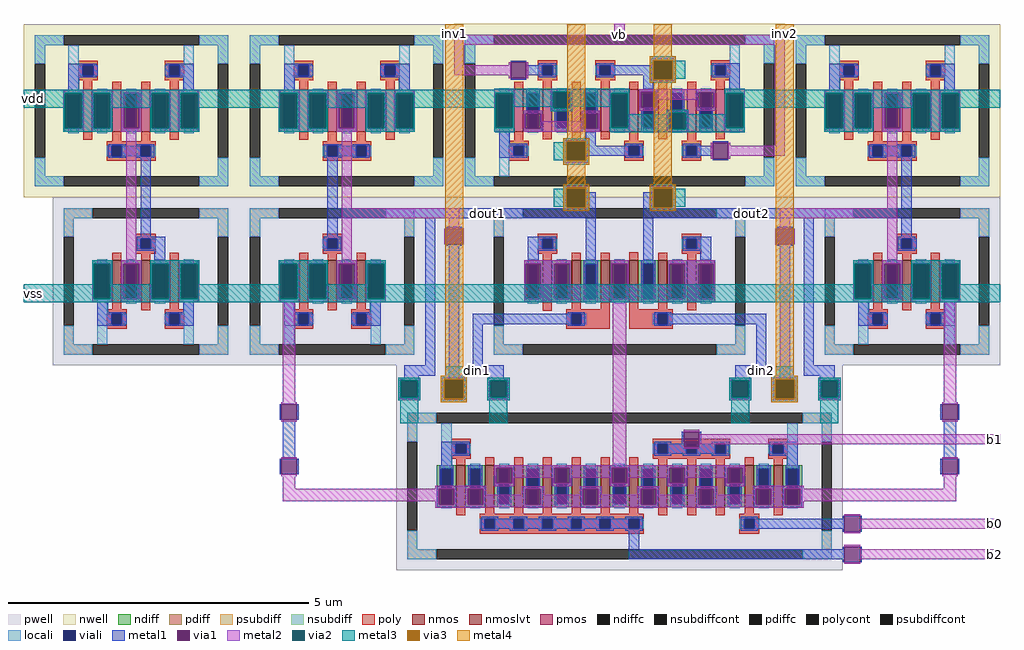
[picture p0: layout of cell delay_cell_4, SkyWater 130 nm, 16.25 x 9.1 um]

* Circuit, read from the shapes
.subckt delay_cell_4 din1 din2 vss vdd dout1 dout2 vb b1 b0 b2 inv1 inv2
XM1 n1 vss vss vss sky130_fd_pr__nfet_01v8 w=0.7 l=0.15 m=2
XM2 vss vss vss vss sky130_fd_pr__nfet_01v8 w=0.7 l=0.15 m=5
XM3 inv1 dout1 vss vss sky130_fd_pr__nfet_01v8 w=0.7 l=0.15
XM4 vss vss inv1 vss sky130_fd_pr__nfet_01v8 w=0.7 l=0.15
XM5 current_tails_1_0/in b2 vss vss sky130_fd_pr__nfet_01v8 w=0.7 l=0.15 m=6
XM6 current_tails_1_0/in current_tails_1_0/in current_tails_1_0/in vss sky130_fd_pr__nfet_01v8_lvt w=0.7 l=0.15 m=2
XM7 dout1 din1 current_tails_1_0/in vss sky130_fd_pr__nfet_01v8_lvt w=0.7 l=0.15 m=2
XM8 dout2 din2 current_tails_1_0/in vss sky130_fd_pr__nfet_01v8_lvt w=0.7 l=0.15 m=2
XM9 current_tails_1_0/in b1 vss vss sky130_fd_pr__nfet_01v8 w=0.7 l=0.15 m=3
XM10 vss b0 current_tails_1_0/in vss sky130_fd_pr__nfet_01v8 w=0.7 l=0.15
XM11 inv2 vss vss vss sky130_fd_pr__nfet_01v8 w=0.7 l=0.15
XM12 vss dout2 inv2 vss sky130_fd_pr__nfet_01v8 w=0.7 l=0.15
XM13 vdd vdd vdd vdd sky130_fd_pr__pfet_01v8 w=0.7 l=0.15 m=6
XM14 n1 vss vdd vdd sky130_fd_pr__pfet_01v8 w=0.7 l=0.15 m=2
XM15 inv1 dout1 vdd vdd sky130_fd_pr__pfet_01v8 w=0.7 l=0.15 m=2
XM16 dout1 vdd vdd vdd sky130_fd_pr__pfet_01v8 w=0.7 l=0.15
XM17 vdd vb dout1 vdd sky130_fd_pr__pfet_01v8 w=0.7 l=0.15
XM18 dout1 dout1 vdd vdd sky130_fd_pr__pfet_01v8 w=0.7 l=0.15
XM19 vdd dout2 dout1 vdd sky130_fd_pr__pfet_01v8 w=0.7 l=0.15
XM20 dout2 dout1 vdd vdd sky130_fd_pr__pfet_01v8 w=0.7 l=0.15
XM21 vdd dout2 dout2 vdd sky130_fd_pr__pfet_01v8 w=0.7 l=0.15
XM22 dout2 vb vdd vdd sky130_fd_pr__pfet_01v8 w=0.7 l=0.15
XM23 vdd vdd dout2 vdd sky130_fd_pr__pfet_01v8 w=0.7 l=0.15
XM24 inv2 dout2 vdd vdd sky130_fd_pr__pfet_01v8 w=0.7 l=0.15 m=2
.ends

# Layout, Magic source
magic
tech sky130A
magscale 1 2
<< pwell >>
rect -245 -53 1049 507
rect -341 -175 1145 -53
<< metal1 >>
rect 514 958 578 964
rect 514 950 520 958
rect 508 916 520 950
rect 514 906 520 916
rect 572 906 578 958
rect 514 900 578 906
rect 226 686 290 692
rect 226 634 232 686
rect 284 678 290 686
rect 284 644 296 678
rect 284 634 290 644
rect 226 628 290 634
rect 226 532 290 538
rect 226 480 232 532
rect 284 524 290 532
rect 514 532 578 538
rect 514 524 520 532
rect 284 490 323 524
rect 481 490 520 524
rect 284 480 289 490
rect 226 471 289 480
rect 514 480 520 490
rect 572 480 578 532
rect 514 474 578 480
rect -537 437 289 471
rect 515 471 578 474
rect 515 437 1341 471
rect -1147 297 -1111 375
rect -245 -53 -211 437
rect -175 403 -123 409
rect -175 345 -123 351
rect 927 403 979 409
rect 927 345 979 351
rect -315 -87 -211 -53
rect -315 -99 -266 -87
rect -166 -99 -132 345
rect -87 85 232 119
rect 572 85 891 119
rect -87 -53 -53 85
rect 857 -53 891 85
rect -87 -87 16 -53
rect -33 -99 16 -87
rect 787 -87 891 -53
rect 787 -99 836 -87
rect 936 -99 970 345
rect 1015 -53 1049 437
rect 1015 -87 1118 -53
rect 1069 -99 1118 -87
rect -330 -105 -266 -99
rect -330 -157 -324 -105
rect -272 -157 -266 -105
rect -330 -163 -266 -157
rect -182 -105 -118 -99
rect -182 -157 -176 -105
rect -124 -157 -118 -105
rect -182 -163 -118 -157
rect -33 -105 31 -99
rect -33 -157 -27 -105
rect 25 -157 31 -105
rect -33 -163 31 -157
rect 772 -105 836 -99
rect 772 -157 778 -105
rect 830 -157 836 -105
rect 772 -163 836 -157
rect 920 -105 984 -99
rect 920 -157 926 -105
rect 978 -157 984 -105
rect 920 -163 984 -157
rect 1069 -105 1133 -99
rect 1069 -157 1075 -105
rect 1127 -157 1133 -105
rect 1069 -163 1133 -157
rect -730 -234 -724 -182
rect -672 -234 -666 -182
rect 1470 -234 1476 -182
rect 1528 -234 1534 -182
rect -719 -364 -677 -234
rect 610 -325 616 -273
rect 668 -325 674 -273
rect 1481 -364 1523 -234
rect -730 -416 -724 -364
rect -672 -416 -666 -364
rect 1470 -416 1476 -364
rect 1528 -416 1534 -364
rect 1145 -563 1151 -554
rect 863 -597 1151 -563
rect 433 -665 467 -597
rect 1145 -606 1151 -597
rect 1203 -606 1209 -554
rect 1145 -665 1151 -656
rect 433 -699 1151 -665
rect 1145 -708 1151 -699
rect 1203 -708 1209 -656
<< via1 >>
rect 520 906 572 958
rect 232 634 284 686
rect 232 480 284 532
rect 520 480 572 532
rect -175 351 -123 403
rect 927 351 979 403
rect -324 -157 -272 -105
rect -176 -157 -124 -105
rect -27 -157 25 -105
rect 778 -157 830 -105
rect 926 -157 978 -105
rect 1075 -157 1127 -105
rect -724 -234 -672 -182
rect 1476 -234 1528 -182
rect 616 -325 668 -273
rect -724 -416 -672 -364
rect 1476 -416 1528 -364
rect 1151 -606 1203 -554
rect 1151 -708 1203 -656
<< metal2 >>
rect 385 1049 419 1085
rect -115 1015 919 1049
rect 508 960 584 970
rect 508 904 518 960
rect 574 904 584 960
rect 508 894 584 904
rect 220 688 296 698
rect 220 632 230 688
rect 286 632 296 688
rect 220 622 296 632
rect 220 534 296 544
rect 220 478 230 534
rect 286 478 296 534
rect -489 437 -132 471
rect 220 468 296 478
rect 508 534 584 544
rect 508 478 518 534
rect 574 478 584 534
rect 508 468 584 478
rect -166 403 -132 437
rect 936 437 1293 471
rect 936 403 970 437
rect -181 351 -175 403
rect -123 351 -117 403
rect 921 351 927 403
rect 979 351 985 403
rect 936 349 970 351
rect -719 -176 -677 157
rect -335 -103 -261 -94
rect -335 -159 -326 -103
rect -270 -159 -261 -103
rect -335 -168 -261 -159
rect -188 -103 -112 -93
rect -188 -159 -178 -103
rect -122 -159 -112 -103
rect -188 -169 -112 -159
rect -38 -103 36 -94
rect -38 -159 -29 -103
rect 27 -159 36 -103
rect -38 -168 36 -159
rect 380 -175 424 157
rect 767 -103 841 -94
rect 767 -159 776 -103
rect 832 -159 841 -103
rect 767 -168 841 -159
rect 914 -103 990 -93
rect 914 -159 924 -103
rect 980 -159 990 -103
rect 914 -169 990 -159
rect 1064 -103 1138 -94
rect 1064 -159 1073 -103
rect 1129 -159 1138 -103
rect 1064 -168 1138 -159
rect 1481 -176 1523 157
rect -724 -182 -672 -176
rect -724 -240 -672 -234
rect 1476 -182 1528 -176
rect 1476 -240 1528 -234
rect 616 -273 668 -267
rect 668 -316 1669 -282
rect 616 -331 668 -325
rect -724 -364 -672 -358
rect -724 -422 -672 -416
rect 1476 -364 1528 -358
rect 1476 -422 1528 -416
rect -719 -463 -677 -422
rect 1481 -463 1523 -422
rect -719 -505 -341 -463
rect 1145 -505 1523 -463
rect 1151 -554 1203 -548
rect 1203 -597 1669 -563
rect 1151 -612 1203 -606
rect 1151 -656 1203 -650
rect 1203 -699 1669 -665
rect 1151 -714 1203 -708
<< via2 >>
rect 518 958 574 960
rect 518 906 520 958
rect 520 906 572 958
rect 572 906 574 958
rect 518 904 574 906
rect 230 686 286 688
rect 230 634 232 686
rect 232 634 284 686
rect 284 634 286 686
rect 230 632 286 634
rect 230 532 286 534
rect 230 480 232 532
rect 232 480 284 532
rect 284 480 286 532
rect 230 478 286 480
rect 518 532 574 534
rect 518 480 520 532
rect 520 480 572 532
rect 572 480 574 532
rect 518 478 574 480
rect -326 -105 -270 -103
rect -326 -157 -324 -105
rect -324 -157 -272 -105
rect -272 -157 -270 -105
rect -326 -159 -270 -157
rect -178 -105 -122 -103
rect -178 -157 -176 -105
rect -176 -157 -124 -105
rect -124 -157 -122 -105
rect -178 -159 -122 -157
rect -29 -105 27 -103
rect -29 -157 -27 -105
rect -27 -157 25 -105
rect 25 -157 27 -105
rect -29 -159 27 -157
rect 776 -105 832 -103
rect 776 -157 778 -105
rect 778 -157 830 -105
rect 830 -157 832 -105
rect 776 -159 832 -157
rect 924 -105 980 -103
rect 924 -157 926 -105
rect 926 -157 978 -105
rect 978 -157 980 -105
rect 924 -159 980 -157
rect 1073 -105 1129 -103
rect 1073 -157 1075 -105
rect 1075 -157 1127 -105
rect 1127 -157 1129 -105
rect 1073 -159 1129 -157
<< metal3 >>
rect 502 964 590 976
rect 502 900 514 964
rect 578 962 590 964
rect 578 902 621 962
rect 578 900 590 902
rect 502 888 590 900
rect -1581 805 -1450 865
rect -998 805 -732 865
rect -280 805 -11 865
rect 815 805 1084 865
rect 1536 805 1669 865
rect 214 692 302 704
rect 214 690 226 692
rect 183 630 226 690
rect 214 628 226 630
rect 290 628 302 692
rect 214 616 302 628
rect 214 538 302 550
rect 214 536 226 538
rect 183 476 226 536
rect 214 474 226 476
rect 290 474 302 538
rect 214 462 302 474
rect 502 538 590 550
rect 502 474 514 538
rect 578 536 590 538
rect 578 476 621 536
rect 578 474 590 476
rect 502 462 590 474
rect -1581 157 -1354 217
rect -998 157 -732 217
rect -376 157 1180 217
rect 1536 157 1669 217
rect -179 -87 -119 -56
rect 923 -87 983 -56
rect -335 -103 -261 -94
rect -335 -159 -326 -103
rect -270 -159 -261 -103
rect -335 -168 -261 -159
rect -194 -99 -106 -87
rect -194 -163 -182 -99
rect -118 -163 -106 -99
rect -328 -245 -268 -168
rect -194 -175 -106 -163
rect -38 -103 36 -94
rect -38 -159 -29 -103
rect 27 -159 36 -103
rect -38 -168 36 -159
rect 767 -103 841 -94
rect 767 -159 776 -103
rect 832 -159 841 -103
rect 767 -168 841 -159
rect 908 -99 996 -87
rect 908 -163 920 -99
rect 984 -163 996 -99
rect -31 -245 29 -168
rect 774 -245 834 -168
rect 908 -175 996 -163
rect 1064 -103 1138 -94
rect 1064 -159 1073 -103
rect 1129 -159 1138 -103
rect 1064 -168 1138 -159
rect 1071 -245 1131 -168
<< via3 >>
rect 514 960 578 964
rect 514 904 518 960
rect 518 904 574 960
rect 574 904 578 960
rect 514 900 578 904
rect 226 688 290 692
rect 226 632 230 688
rect 230 632 286 688
rect 286 632 290 688
rect 226 628 290 632
rect 226 534 290 538
rect 226 478 230 534
rect 230 478 286 534
rect 286 478 290 534
rect 226 474 290 478
rect 514 534 578 538
rect 514 478 518 534
rect 518 478 574 534
rect 574 478 578 534
rect 514 474 578 478
rect -182 -103 -118 -99
rect -182 -159 -178 -103
rect -178 -159 -122 -103
rect -122 -159 -118 -103
rect -182 -163 -118 -159
rect 920 -103 984 -99
rect 920 -159 924 -103
rect 924 -159 980 -103
rect 980 -159 984 -103
rect 920 -163 984 -159
<< metal4 >>
rect -179 -87 -119 1083
rect 228 704 288 1083
rect 516 976 576 1083
rect 502 964 590 976
rect 502 900 514 964
rect 578 900 590 964
rect 502 888 590 900
rect 214 692 302 704
rect 214 628 226 692
rect 290 628 302 692
rect 214 616 302 628
rect 228 550 288 616
rect 516 550 576 888
rect 214 538 302 550
rect 214 474 226 538
rect 290 474 302 538
rect 214 462 302 474
rect 502 538 590 550
rect 502 474 514 538
rect 578 474 590 538
rect 502 462 590 474
rect 923 -87 983 1083
rect -194 -99 -106 -87
rect -194 -163 -182 -99
rect -118 -163 -106 -99
rect -194 -175 -106 -163
rect 908 -99 996 -87
rect 908 -163 920 -99
rect 984 -163 996 -99
rect 908 -175 996 -163
use current_tails_1  current_tails_1_0
transform 1 0 402 0 1 -455
box -743 -280 743 280
use n_cell_3  n_cell_3_0
transform -1 0 -1175 0 1 227
box -310 -280 310 280
use n_cell_3  sky130_fd_pr__nfet_01v8_5ZA63U_0
transform 1 0 -555 0 1 227
box -310 -280 310 280
use n_cell_3  sky130_fd_pr__nfet_01v8_5ZA63U_1
transform -1 0 1359 0 1 227
box -310 -280 310 280
use n_cell_1  sky130_fd_pr__nfet_01v8_lvt_GVQ53W_0
transform 1 0 402 0 1 227
box -455 -280 455 280
use p_cell_3  sky130_fd_pr__pfet_01v8_X6PFBL_0
transform 1 0 402 0 1 796
box -551 -289 551 289
use sky130_fd_pr__pfet_01v8_X679XQ  sky130_fd_pr__pfet_01v8_X679XQ_0
transform 1 0 -507 0 -1 795
box -358 -288 358 288
use sky130_fd_pr__pfet_01v8_X679XQ  sky130_fd_pr__pfet_01v8_X679XQ_1
transform -1 0 1311 0 -1 795
box -358 -288 358 288
use sky130_fd_pr__pfet_01v8_X679XQ  sky130_fd_pr__pfet_01v8_X679XQ_2
transform -1 0 -1223 0 -1 795
box -358 -288 358 288
<< labels >>
rlabel metal1 -87 -87 -53 -53 0 din1
port 1 n
rlabel metal1 857 -87 891 -53 5 din2
port 2 n
rlabel metal3 -1581 805 -1521 865 0 vdd
port 4 n
rlabel metal1 -53 437 -19 471 4 dout1
port 5 n
rlabel metal1 823 437 857 471 3 dout2
port 6 n
rlabel metal2 385 1015 419 1085 4 vb
port 7 n
rlabel metal2 1635 -316 1669 -282 3 b1
port 8 n
rlabel metal2 1635 -597 1669 -563 6 b0
port 9 n
rlabel metal2 1635 -699 1669 -665 0 b2
port 10 n
rlabel metal3 -1581 157 -1521 217 0 vss
port 3 n
rlabel metal4 -179 1023 -119 1083 0 inv1
port 11 n
rlabel metal4 923 1023 983 1083 3 inv2
port 12 n
<< end >>

# cell current_tails_1: kit device sky130_fd_pr__nfet_01v8, w 0.7 l 0.150 m 1 nf 12 diffcov 100 polycov 100 guard 1 glc 1 grc 1 gtc 1 gbc 1 tbcov 100 rlcov 100 topc 1 botc 1 poverlap 0 doverlap 1 lmin 0.15 wmin 0.42 compatible {sky130_fd_pr__nfet_01v8 sky130_fd_pr__nfet_01v8_lvt sky130_fd_bs_flash__special_sonosfet_star sky130_fd_pr__nfet_g5v0d10v5 sky130_fd_pr__nfet_05v0_nvt sky130_fd_pr__nfet_03v3_nvt} full_metal 1 viasrc 100 viadrn 100 viagate 100 viagb 0 viagr 0 viagl 0 viagt 0

# cell n_cell_3: kit device sky130_fd_pr__nfet_01v8, w 0.7 l 0.150 m 1 nf 3 diffcov 100 polycov 100 guard 1 glc 1 grc 1 gtc 1 gbc 1 tbcov 100 rlcov 100 topc 1 botc 1 poverlap 0 doverlap 1 lmin 0.15 wmin 0.42 compatible {sky130_fd_pr__nfet_01v8 sky130_fd_pr__nfet_01v8_lvt sky130_fd_bs_flash__special_sonosfet_star sky130_fd_pr__nfet_g5v0d10v5 sky130_fd_pr__nfet_05v0_nvt sky130_fd_pr__nfet_03v3_nvt} full_metal 1 viasrc 100 viadrn 100 viagate 100 viagb 0 viagr 0 viagl 0 viagt 0

# cell n_cell_1: kit device sky130_fd_pr__nfet_01v8_lvt, w 0.7 l 0.150 m 1 nf 6 diffcov 100 polycov 100 guard 1 glc 1 grc 1 gtc 1 gbc 1 tbcov 100 rlcov 100 topc 1 botc 1 poverlap 0 doverlap 1 lmin 0.15 wmin 0.42 compatible {sky130_fd_pr__nfet_01v8 sky130_fd_pr__nfet_01v8_lvt sky130_fd_bs_flash__special_sonosfet_star sky130_fd_pr__nfet_g5v0d10v5 sky130_fd_pr__nfet_05v0_nvt sky130_fd_pr__nfet_03v3_nvt} full_metal 1 viasrc 100 viadrn 100 viagate 100 viagb 0 viagr 0 viagl 0 viagt 0

# cell p_cell_3: kit device sky130_fd_pr__pfet_01v8, w 0.7 l 0.15 m 1 nf 8 diffcov 100 polycov 100 guard 1 glc 1 grc 1 gtc 1 gbc 1 tbcov 100 rlcov 100 topc 1 botc 1 poverlap 0 doverlap 1 lmin 0.15 wmin 0.42 compatible {sky130_fd_pr__pfet_01v8 sky130_fd_pr__pfet_01v8_lvt sky130_fd_pr__pfet_01v8_hvt sky130_fd_pr__pfet_g5v0d10v5} full_metal 1 viasrc 100 viadrn 100 viagate 100 viagb 0 viagr 0 viagl 0 viagt 0

# cell sky130_fd_pr__pfet_01v8_X679XQ: kit device sky130_fd_pr__pfet_01v8, w 0.7 l 0.15 m 1 nf 4 diffcov 100 polycov 100 guard 1 glc 1 grc 1 gtc 1 gbc 1 tbcov 100 rlcov 100 topc 1 botc 1 poverlap 0 doverlap 1 lmin 0.15 wmin 0.42 compatible {sky130_fd_pr__pfet_01v8 sky130_fd_pr__pfet_01v8_lvt sky130_fd_pr__pfet_01v8_hvt sky130_fd_pr__pfet_g5v0d10v5} full_metal 1 viasrc 100 viadrn 100 viagate 100 viagb 0 viagr 0 viagl 0 viagt 0
